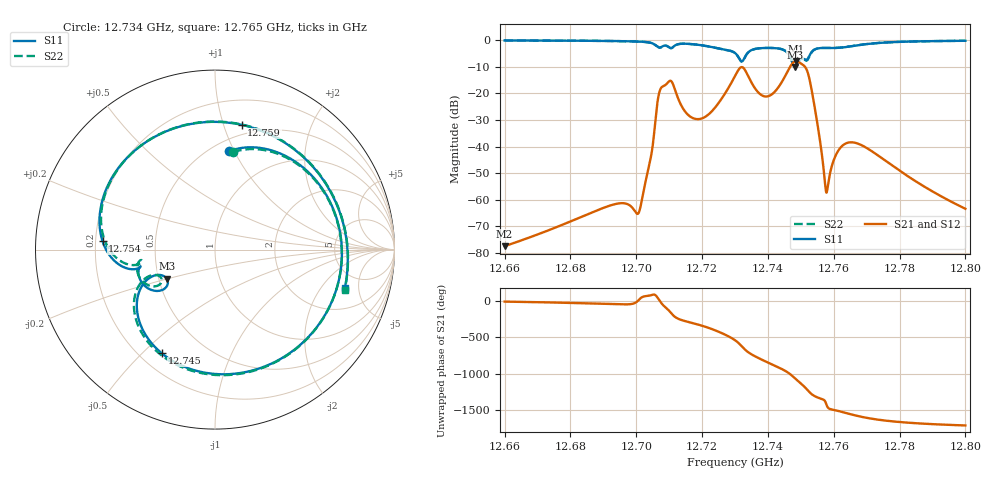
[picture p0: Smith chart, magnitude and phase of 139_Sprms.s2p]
! TOUCHSTONE file generated by CST MICROWAVE STUDIO
! Date and time: Wed Jul 31 17:50:09 2024
! Project name: WaveGuide_BPF-Ver4.1_U-shape_Ku_T3_C4_CWA_2.cst
! Parameters = {cavity_h=16; cavity_l0=10; cavity_l1=15.1714; cavity_l2=16.8049; cavity_l3=17.0847; cavity_l4=17.3059; cavity_l5=17.0907; cavity_l6=17.6216; cavity_r=2.5; cavity_screw_l=0.5; cavity_screw_r=1.5; cavity_w=8; iris_h00=0; iris_h01=8.8043; iris_h112=0; iris_h12=5.5995; iris_h211=3.6658; 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
! Header version: 2018
! Port assignment regex: !\s*Touchstone port\s*([0-9]+)\s*=\s*(CST MWS port|CST DS port)\s*([0-9]+|Zmin|Zmax)\s*\(\"(.*)\"\)(\s*mode\s*([0-9]+))?.*
! Touchstone port assignment:
! Touchstone port 1 = CST MWS port 1 ("")
! Touchstone port 2 = CST MWS port 2 ("")
# GHz S RI R 50
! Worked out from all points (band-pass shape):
!   5001 points, 12.66 GHz to 12.8 GHz, reference 50 ohm
!   highest |S21| = -7.97 dB at 12.749 GHz (marker M1); lowest = -77.5 dB at 12.66 GHz (marker M2)
!   |S21| within 3 dB of the highest: 12.73118 GHz to 12.73289 GHz (1.716 MHz wide, 0.0135 % of centre); 12.74631 GHz to 12.75172 GHz (5.408 MHz wide, 0.0424 % of centre)
!   lowest |S11| = -10.1 dB at 12.748 GHz (marker M3), VSWR 1.92, Z = 27.6 - j9.95 ohm
!   |S11| at or under -10 dB: 12.74807 GHz to 12.74836 GHz (289.7 kHz wide, 0.00227 % of centre)
!   |S22| runs from -9.4 to -0.1 dB; largest |S21 - S12| = 1e-09
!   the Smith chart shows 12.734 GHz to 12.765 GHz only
!   S11 on the Smith chart (normalised r, x): 12.734 GHz: 0.60, +0.95; 12.745 GHz: 0.29, -0.57; 12.754 GHz: 0.23, +0.04; 12.759 GHz: 0.41, +1.15; 12.765 GHz: 3.54, -3.50
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12.66  0.1842 0.9681  0.00013 -3.29e-05  0.00013 -3.29e-05  0.1864 0.9677
12.68335  0.5142 0.8268  0.000384 -0.000281  0.000384 -0.000281  0.5162 0.8256
12.70066  0.8481 0.403  0.000554 4.31e-05  0.000554 4.31e-05  0.8494 0.3996
12.70668  0.7387 0.069  0.0747 0.0383  0.0747 0.0383  0.7335 0.0611
12.71046  0.71 -0.00585  -0.1647 -0.0487  -0.1647 -0.0487  0.7042 -0.00614
12.71499  0.7833 -0.3431  0.00975 0.0431  0.00975 0.0431  0.7822 -0.3439
12.72163  0.0144 -0.7677  0.0382 -0.00532  0.0382 -0.00532  0.00614 -0.7662
12.72636  -0.6562 -0.1559  -0.00402 -0.0867  -0.00402 -0.0867  -0.6576 -0.1374
12.73  -0.2555 0.5125  -0.2109 0.00768  -0.2109 0.00768  -0.2326 0.5209
12.73364  0.0785 0.5476  0.2089 0.1049  0.2089 0.1049  0.101 0.5422
12.73862  0.6988 -0.1259  -0.0133 -0.0878  -0.0133 -0.0878  0.6928 -0.1586
12.74481  -0.2964 -0.5778  -0.1215 0.1443  -0.1215 0.1443  -0.3183 -0.5725
12.7482  -0.2685 -0.1627  0.379 0.1175  0.379 0.1175  -0.3002 -0.1573
12.74851  -0.2627 -0.1878  0.3982 0.0317  0.3982 0.0317  -0.2967 -0.1773
12.75335  -0.6045 -0.00442  -0.1019 0.041  -0.1019 0.041  -0.5983 0.0163
12.7536  -0.6265 0.0465  -0.0777 0.0453  -0.0777 0.0453  -0.6199 0.0678
12.75752  -0.1828 0.689  0.00105 0.00122  0.00105 0.00122  -0.1582 0.6965
12.75904  0.149 0.6951  0.00245 -0.00246  0.00245 -0.00246  0.1727 0.6916
12.76458  0.7235 -0.213  -0.00365 -0.0113  -0.00365 -0.0113  0.7216 -0.2273
12.76968  0.199 -0.814  -0.00911 -0.00319  -0.00911 -0.00319  0.1909 -0.817
12.77668  -0.4902 -0.7649  -0.00439 0.00217  -0.00439 0.00217  -0.4953 -0.7621
12.8  -0.971 0.0312  -2.65e-05 0.000674  -2.65e-05 0.000674  -0.9709 0.0352
